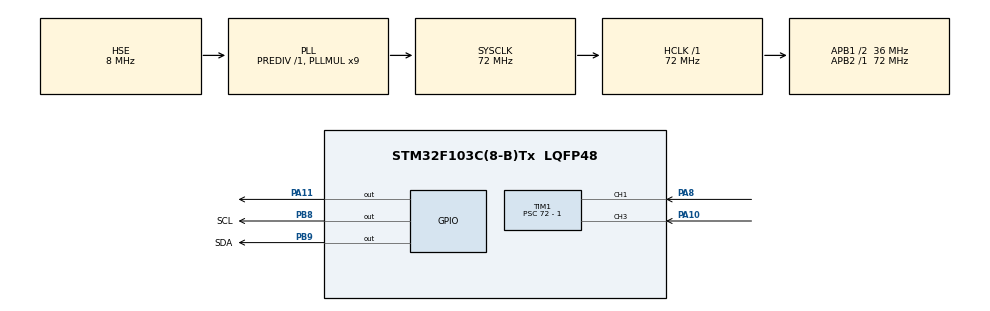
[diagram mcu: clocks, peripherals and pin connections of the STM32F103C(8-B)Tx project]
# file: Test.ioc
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Mcu.Family=STM32F1
Mcu.Name=STM32F103C(8-B)Tx
Mcu.Package=LQFP48
NVIC.PriorityGroup=NVIC_PRIORITYGROUP_4
NVIC.TIM1_CC_IRQn=true\:0\:0\:false\:false\:true\:true\:true\:true
PA10.Signal=S_TIM1_CH3
PA11.GPIO_ModeDefaultOutputPP=GPIO_MODE_OUTPUT_PP
PA11.GPIO_PuPd=GPIO_NOPULL
PA11.Signal=GPIO_Output
PA13.Mode=Serial_Wire
PA13.Signal=SYS_JTMS-SWDIO
PA14.Mode=Serial_Wire
PA14.Signal=SYS_JTCK-SWCLK
PA8.Signal=S_TIM1_CH1
PB8.GPIO_Label=SCL
PB8.GPIO_ModeDefaultOutputPP=GPIO_MODE_OUTPUT_OD
PB8.GPIO_PuPd=GPIO_NOPULL
PB8.Signal=GPIO_Output
PB9.GPIO_Label=SDA
PB9.GPIO_ModeDefaultOutputPP=GPIO_MODE_OUTPUT_OD
PB9.GPIO_PuPd=GPIO_NOPULL
PB9.PinState=GPIO_PIN_RESET
PB9.Signal=GPIO_Output
PD0-OSC_IN.Mode=HSE-External-Oscillator
PD0-OSC_IN.Signal=RCC_OSC_IN
PD1-OSC_OUT.Mode=HSE-External-Oscillator
PD1-OSC_OUT.Signal=RCC_OSC_OUT
ProjectManager.HeapSize=0x200
ProjectManager.StackSize=0x400
ProjectManager.TargetToolchain=CMake
RCC.AHBFreq_Value=72000000
RCC.APB1CLKDivider=RCC_HCLK_DIV2
RCC.APB1Freq_Value=36000000
RCC.APB1TimFreq_Value=72000000
RCC.APB2Freq_Value=72000000
RCC.APB2TimFreq_Value=72000000
RCC.HCLKFreq_Value=72000000
RCC.PLLMUL=RCC_PLL_MUL9
RCC.PLLSourceVirtual=RCC_PLLSOURCE_HSE
RCC.SYSCLKFreq_VALUE=72000000
RCC.SYSCLKSource=RCC_SYSCLKSOURCE_PLLCLK
RCC.USBFreq_Value=72000000
SH.S_TIM1_CH1.0=TIM1_CH1,TriggerSource_TI1ED
SH.S_TIM1_CH3.0=TIM1_CH3,Input_Capture3_from_TI3
TIM1.AutoReloadPreload=TIM_AUTORELOAD_PRELOAD_ENABLE
TIM1.Channel-Input_Capture3_from_TI3=TIM_CHANNEL_3
TIM1.Channel-Input_Capture4_from_TI3_63=TIM_CHANNEL_4
TIM1.ICPolarity_CH4=TIM_INPUTCHANNELPOLARITY_FALLING
TIM1.Prescaler=72 - 1
VP_TIM1_VS_ClockSourceINT.Mode=Internal
VP_TIM1_VS_ControllerModeReset.Mode=Reset Mode
VP_TIM1_VS_indirect_ch3.Mode=Input_Capture4_from_TI3_63
board=custom

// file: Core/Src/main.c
/* USER CODE BEGIN Header */
/**
  ******************************************************************************
  * @file           : main.c
  * @brief          : Main program body
  ******************************************************************************
  * @attention
  *
  * Copyright (c) 2026 STMicroelectronics.
  * All rights reserved.
  *
  * This software is licensed under terms that can be found in the LICENSE file
  * in the root directory of this software component.
  * If no LICENSE file comes with this software, it is provided AS-IS.
  *
  ******************************************************************************
  */
/* USER CODE END Header */
#include "main.h"

#include <stdio.h>

#include "tim.h"
#include "gpio.h"
#include "OLED.h"
/* USER CODE BEGIN Includes */
// 微秒延时函数（F103C8T6 72MHz专用）
void HAL_Delay_us(uint32_t us) {
    us *= (SystemCoreClock / 1000000) / 8; // 72MHz下，1us≈9个NOP
    while (us--) { __NOP(); }
}
/* USER CODE END Includes */

/* USER CODE BEGIN PV */
uint32_t UpEdge = 0;    // 上升沿捕获值（CH3）
uint32_t DownEdge = 0;  // 下降沿捕获值（CH4间接）
float distance = 0.0f;  // 测距结果（cm，必须用float）
uint8_t capture_flag = 0; // 捕获完成标志：1=已捕获上升+下降沿
/* USER CODE END PV */

void SystemClock_Config(void);

/* USER CODE BEGIN 0 */
// TIM1输入捕获回调函数（适配直接/间接捕获模式）
void HAL_TIM_IC_CaptureCallback(TIM_HandleTypeDef *htim) { // TIM句柄类型定义
  if (htim->Instance == TIM1) {
    // 通道3捕获上升沿（直接模式）
    if (htim->Channel == HAL_TIM_ACTIVE_CHANNEL_3) {
      UpEdge = HAL_TIM_ReadCapturedValue(htim, TIM_CHANNEL_3);
      __HAL_TIM_CLEAR_FLAG(htim, TIM_FLAG_CC3);    // 清CH3标志
      __HAL_TIM_CLEAR_IT(htim, TIM_IT_CC3);        // 清CH3中断挂起位
    }

    // 通道4捕获下降沿（间接模式，复用CH3信号）
    if (htim->Channel == HAL_TIM_ACTIVE_CHANNEL_4) {
      DownEdge = HAL_TIM_ReadCapturedValue(htim, TIM_CHANNEL_4);
      __HAL_TIM_CLEAR_FLAG(htim, TIM_FLAG_CC4);    // 清CH4标志
      __HAL_TIM_CLEAR_IT(htim, TIM_IT_CC4);        // 清CH4中断挂起位 zhe
      capture_flag = 1; // 标记：上升+下降沿都已捕获
    }

    // 仅当捕获完成时计算距离
    if (capture_flag == 1) {
      uint32_t pulse_width = 0;
      // 处理计数器溢出（TIM1周期65535，1MHz计数）
      if (DownEdge >= UpEdge) {
        pulse_width = DownEdge - UpEdge;
      } else {
        pulse_width = (65535 - UpEdge) + DownEdge;
      }
      // 核心公式：距离(cm) = 脉冲宽度(us) × 0.034 / 2
      distance = pulse_width * 0.034f / 2.0f;
      capture_flag = 0; // 重置标志，准备下一次捕获
    }
  }
}

// 函数定义：HAL_TIM_IC_CaptureCallback(TIM_HandleTypeDef *htim)
// 英文拆解：
// HAL_ = 硬件抽象层（统一封装底层硬件操作）
// TIM_ = 定时器（指定操作的外设是定时器）
// IC_ = Input Capture（输入捕获，模块子功能）
// Capture = 捕获（核心动作）
// Callback = 回调（函数类型：中断触发后自动调用）
// 伪代码翻译：定义一个“定时器输入捕获中断回调函数”，接收“定时器句柄”作为参数
// void 定时器输入捕获中断回调函数(定时器句柄 *定时器句柄指针) {
//
//   // 第一层判断：if (htim->Instance == TIM1)
//   // 英文拆解：
//   // Instance = 实例（句柄里的成员，指向具体的定时器外设，如TIM1/TIM2）
//   // 伪代码翻译：如果触发中断的定时器是TIM1（过滤其他定时器的中断）
//   如果 (定时器句柄指针->具体定时器实例 == TIM1) {
//
//     // 处理CH3上升沿捕获：if (htim->Channel == HAL_TIM_ACTIVE_CHANNEL_3)
//     // 英文拆解：
//     // Channel = 通道（定时器的输入/输出通道）
//     // HAL_TIM_ACTIVE_CHANNEL_3 = 激活的通道3（HAL库定义的通道3常量）
//     // 伪代码翻译：如果本次中断是TIM1的通道3触发的（上升沿捕获）
//     如果 (定时器句柄指针->触发中断的通道 == 定时器通道3) {
//
//       // UpEdge = HAL_TIM_ReadCapturedValue(htim, TIM_CHANNEL_3)
//       // 英文拆解：
//       // Read = 读取（动作）
//       // Captured = 捕获的（形容词，修饰Value）
//       // Value = 值（操作对象：捕获寄存器里的计数值）
//       // TIM_CHANNEL_3 = 定时器通道3（指定读取的通道）
//       // 伪代码翻译：读取TIM1通道3捕获寄存器的值，赋值给“上升沿计数值”变量
//       上升沿计数值 = 读取定时器捕获值(定时器句柄指针, 定时器通道3);
//
//       // __HAL_TIM_CLEAR_FLAG(htim, TIM_FLAG_CC3)
//       // 英文拆解：
//       // __ = 底层宏（直接操作寄存器，无HAL库封装）
//       // Clear = 清除（核心动作）
//       // Flag = 标志（操作对象：外设层的标志位）
//       // TIM_FLAG_CC3 = 定时器通道3捕获标志（CC=Capture Compare，捕获比较）
//       // 伪代码翻译：清除TIM1通道3的“捕获标志位”（避免标志残留导致重复中断）
//       清除定时器标志位(定时器句柄指针, TIM1通道3捕获标志);
//
//       // __HAL_TIM_CLEAR_IT(htim, TIM_IT_CC3)
//       // 英文拆解：
//       // IT = Interrupt（中断，缩写）
//       // TIM_IT_CC3 = 定时器通道3捕获中断（操作对象：内核层的中断挂起位）
//       // 伪代码翻译：清除TIM1通道3的“中断挂起位”（彻底结束本次中断请求）
//       清除定时器中断挂起位(定时器句柄指针, TIM1通道3捕获中断);
//     }
//
//     // 处理CH4下降沿捕获：if (htim->Channel == HAL_TIM_ACTIVE_CHANNEL_4)
//     // 伪代码翻译：如果本次中断是TIM1的通道4触发的（下降沿捕获）
//     如果 (定时器句柄指针->触发中断的通道 == 定时器通道4) {
//
//       // DownEdge = HAL_TIM_ReadCapturedValue(htim, TIM_CHANNEL_4)
//       // 伪代码翻译：读取TIM1通道4捕获寄存器的值，赋值给“下降沿计数值”变量
//       下降沿计数值 = 读取定时器捕获值(定时器句柄指针, 定时器通道4);
//
//       // __HAL_TIM_CLEAR_FLAG(htim, TIM_FLAG_CC4)
//       // 伪代码翻译：清除TIM1通道4的“捕获标志位”
//       清除定时器标志位(定时器句柄指针, TIM1通道4捕获标志);
//
//       // __HAL_TIM_CLEAR_IT(htim, TIM_IT_CC4)
//       // 伪代码翻译：清除TIM1通道4的“中断挂起位”
//       清除定时器中断挂起位(定时器句柄指针, TIM1通道4捕获中断);
//
//       // capture_flag = 1
//       // 伪代码翻译：设置“捕获完成标志”为1（表示上升沿+下降沿都已捕获）
//       捕获完成标志 = 1;
//     }
//
//     // 计算距离：if (capture_flag == 1)
//     // 伪代码翻译：如果捕获完成（上升+下降沿都已获取）
//     如果 (捕获完成标志 == 1) {
//
//       // 定义脉冲宽度变量
//       脉冲宽度 = 0;
//
//       // 处理计数器溢出：if (DownEdge >= UpEdge)
//       // 伪代码翻译：如果下降沿计数值 ≥ 上升沿计数值（无溢出）
//       如果 (下降沿计数值 >= 上升沿计数值) {
//         // 脉冲宽度 = 下降沿计数值 - 上升沿计数值
//         脉冲宽度 = 下降沿计数值 - 上升沿计数值;
//       } 否则 {
//         // 溢出情况：脉冲宽度 = (65535 - 上升沿计数值) + 下降沿计数值
//         脉冲宽度 = (65535 - 上升沿计数值) + 下降沿计数值;
//       }
//
//       // 距离计算：distance = pulse_width * 0.034f / 2.0f
//       // 伪代码翻译：距离(cm) = 脉冲宽度(us) × 0.034（声速） / 2（往返距离）
//       距离 = 脉冲宽度 * 0.034f / 2.0f;
//
//       // 重置捕获完成标志
//       捕获完成标志 = 0;
//     }
//   }
// }
/* USER CODE END 0 */

int main(void)
{

  /* MCU Configuration--------------------------------------------------------*/

  /* Reset of all peripherals, Initializes the Flash interface and the Systick. */
  HAL_Init();

  /* Configure the system clock */
  SystemClock_Config();

  /* Initialize all configured peripherals */
  MX_GPIO_Init();
  MX_TIM1_Init();  // TIM1初始化（包含直接/间接捕获配置）
  /* USER CODE BEGIN 2 */
  // 启动TIM1基础计数
  HAL_TIM_Base_Start(&htim1);
  // 启动CH3（直接）和CH4（间接）的带中断捕获
  HAL_TIM_IC_Start_IT(&htim1, TIM_CHANNEL_3);
  HAL_TIM_IC_Start_IT(&htim1, TIM_CHANNEL_4);

  // 初始化OLED
  OLED_Init();
  OLED_Clear(); // 清屏
  OLED_ShowString(1,1,"Distance:");
  /* USER CODE END 2 */

  /* Infinite loop */
  while (1)
  {
    // ========== 规范的Trig触发逻辑 ==========
    __HAL_TIM_SET_COUNTER(&htim1, 0);  // 触发前清零计数器（关键）
    HAL_GPIO_WritePin(GPIOA, GPIO_PIN_11, GPIO_PIN_SET);  // Trig拉高
    HAL_Delay_us(15);  // 精准15us高电平（满足模块≥10us要求）
    HAL_GPIO_WritePin(GPIOA, GPIO_PIN_11, GPIO_PIN_RESET); // Trig拉低

    HAL_Delay(20);    // 测距间隔（避免连续触发干扰）
    // OLED显示：保留1位小数，适配float类型
    OLED_ShowNum(1, 10, (uint32_t)distance, 3);          // 整数部分
    OLED_ShowChar(1, 13, '.');                           // 小数点
    OLED_ShowNum(1, 14, (uint32_t)(distance*10)%10, 1);  // 小数部分
  }
}

void SystemClock_Config(void)
{
  RCC_OscInitTypeDef RCC_OscInitStruct = {0};
  RCC_ClkInitTypeDef RCC_ClkInitStruct = {0};

  /** Initializes the RCC Oscillators according to the specified parameters
  * in the RCC_OscInitTypeDef structure.
  */
  RCC_OscInitStruct.OscillatorType = RCC_OSCILLATORTYPE_HSE;
  RCC_OscInitStruct.HSEState = RCC_HSE_ON;
  RCC_OscInitStruct.HSEPredivValue = RCC_HSE_PREDIV_DIV1;
  RCC_OscInitStruct.HSIState = RCC_HSI_ON;
  RCC_OscInitStruct.PLL.PLLState = RCC_PLL_ON;
  RCC_OscInitStruct.PLL.PLLSource = RCC_PLLSOURCE_HSE;
  RCC_OscInitStruct.PLL.PLLMUL = RCC_PLL_MUL9;
  if (HAL_RCC_OscConfig(&RCC_OscInitStruct) != HAL_OK)
  {
    Error_Handler();
  }

  /** Initializes the CPU, AHB and APB buses clocks
  */
  RCC_ClkInitStruct.ClockType = RCC_CLOCKTYPE_HCLK|RCC_CLOCKTYPE_SYSCLK
                              |RCC_CLOCKTYPE_PCLK1|RCC_CLOCKTYPE_PCLK2;
  RCC_ClkInitStruct.SYSCLKSource = RCC_SYSCLKSOURCE_PLLCLK;
  RCC_ClkInitStruct.AHBCLKDivider = RCC_SYSCLK_DIV1;
  RCC_ClkInitStruct.APB1CLKDivider = RCC_HCLK_DIV2;
  RCC_ClkInitStruct.APB2CLKDivider = RCC_HCLK_DIV1;

  if (HAL_RCC_ClockConfig(&RCC_ClkInitStruct, FLASH_LATENCY_2) != HAL_OK)
  {
    Error_Handler();
  }
}

void Error_Handler(void)
{
  __disable_irq();
  while (1)
  {
  }
}
